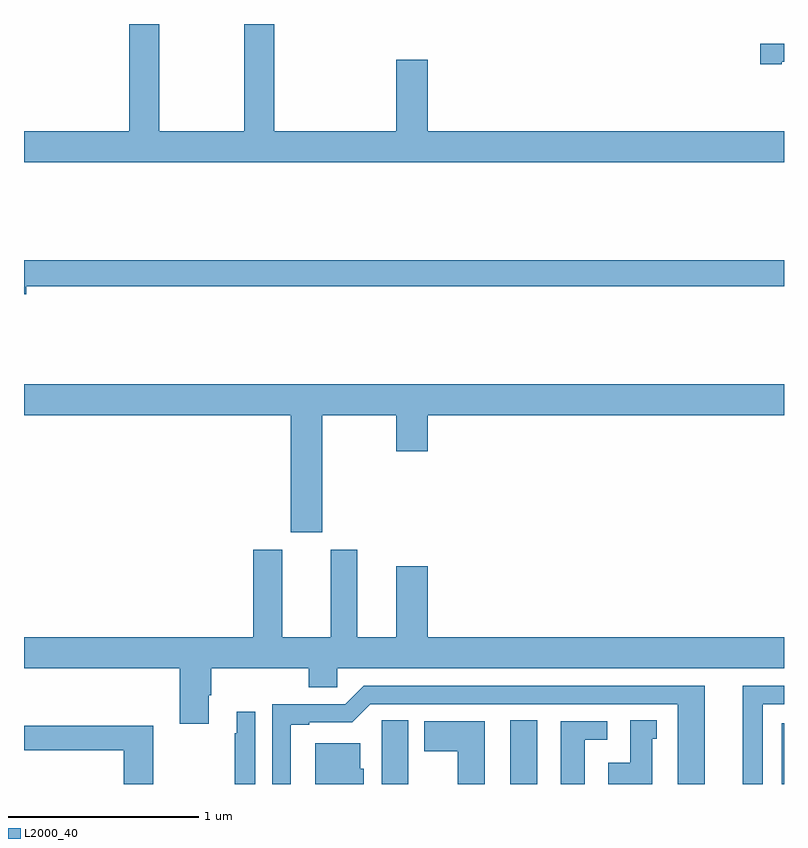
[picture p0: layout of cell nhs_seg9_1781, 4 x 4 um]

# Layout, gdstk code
import gdstk
lib = gdstk.Library(unit=1e-6, precision=1e-09)
def R(c, l, rs):  # rectangles x0, y0, x1, y1
    for r in rs: c.add(gdstk.rectangle(r[:2], r[2:], *l))
def P(c, l, *ps):  # polygons
    for p in ps: c.add(gdstk.Polygon(p, *l))
L2000_40 = (2000, 40)

nhs_seg9_1781 = lib.new_cell('nhs_seg9_1781')
R(nhs_seg9_1781, L2000_40, [(213.56,1174.5,213.7,1174.835), (214.988,1174.5,215,1174.821)])
P(nhs_seg9_1781, L2000_40, [(215,1177.936),(213.124,1177.936),(213.124,1178.311),(212.96,1178.311),(212.96,1177.936),(212.318,1177.936),(212.318,1178.5),(212.158,1178.5),(212.158,1177.936),(211.713,1177.936),(211.713,1178.5),(211.553,1178.5),(211.553,1177.936),(211,1177.936),(211,1177.772),(215,1177.772)],
  [(214.987,1178.301),(215,1178.301),(215,1178.397),(214.875,1178.397),(214.875,1178.289),(214.987,1178.289)],
  [(211.012,1177.12),(215,1177.12),(215,1177.256),(211,1177.256),(211,1177.078),(211.012,1177.078)],
  [(212.569,1176.44),(212.96,1176.44),(212.96,1176.252),(213.124,1176.252),(213.124,1176.44),(215,1176.44),(215,1176.604),(211,1176.604),(211,1176.44),(212.405,1176.44),(212.405,1175.826),(212.569,1175.826)],
  [(211.972,1174.966),(211.985,1174.966),(211.985,1175.108),(212.498,1175.108),(212.498,1175.01),(212.649,1175.01),(212.649,1175.108),(215,1175.108),(215,1175.272),(213.124,1175.272),(213.124,1175.647),(212.96,1175.647),(212.96,1175.272),(212.755,1175.272),(212.755,1175.734),(212.615,1175.734),(212.615,1175.272),(212.359,1175.272),(212.359,1175.734),(212.207,1175.734),(212.207,1175.272),(211,1175.272),(211,1175.108),(211.82,1175.108),(211.82,1174.818),(211.972,1174.818)],
  [(212.404,1174.812),(212.5,1174.812),(212.5,1174.824),(212.727,1174.824),(212.823,1174.92),(214.442,1174.92),(214.442,1174.5),(214.582,1174.5),(214.582,1175.016),(212.787,1175.016),(212.691,1174.92),(212.307,1174.92),(212.307,1174.5),(212.404,1174.5)],
  [(214.888,1174.92),(215,1174.92),(215,1175.016),(214.784,1175.016),(214.784,1174.5),(214.888,1174.5)],
  [(212.217,1174.879),(212.12,1174.879),(212.12,1174.766),(212.109,1174.766),(212.109,1174.5),(212.217,1174.5)],
  [(213.022,1174.835),(212.883,1174.835),(212.883,1174.724),(212.882,1174.724),(212.882,1174.5),(213.022,1174.5)],
  [(214.306,1174.737),(214.33,1174.737),(214.33,1174.835),(214.19,1174.835),(214.19,1174.612),(214.076,1174.612),(214.076,1174.5),(214.306,1174.5)],
  [(213.424,1174.831),(213.107,1174.831),(213.107,1174.672),(213.284,1174.672),(213.284,1174.5),(213.424,1174.5)],
  [(213.952,1174.734),(214.069,1174.734),(214.069,1174.83),(213.824,1174.83),(213.824,1174.5),(213.952,1174.5)],
  [(211.68,1174.807),(211,1174.807),(211,1174.678),(211.526,1174.678),(211.526,1174.5),(211.68,1174.5)],
  [(212.788,1174.581),(212.77,1174.581),(212.77,1174.714),(212.534,1174.714),(212.534,1174.5),(212.788,1174.5)])

lib.write_gds('nhs_seg9_1781.gds')
